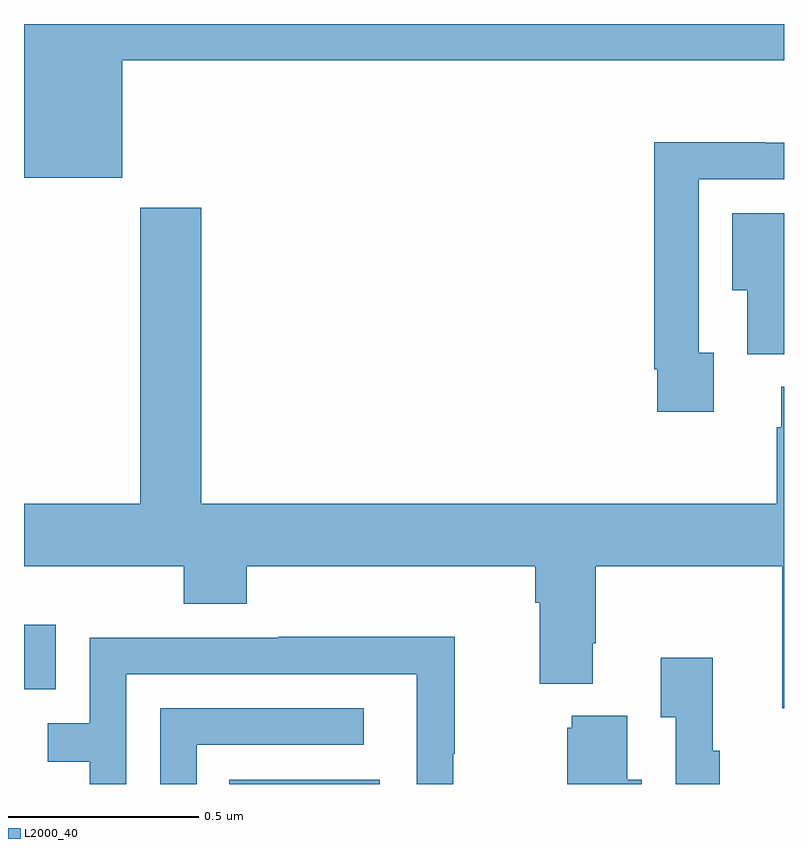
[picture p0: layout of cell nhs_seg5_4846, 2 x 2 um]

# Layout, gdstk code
import gdstk
lib = gdstk.Library(unit=1e-6, precision=1e-09)
def R(c, l, rs):  # rectangles x0, y0, x1, y1
    for r in rs: c.add(gdstk.rectangle(r[:2], r[2:], *l))
def P(c, l, *ps):  # polygons
    for p in ps: c.add(gdstk.Polygon(p, *l))
L2000_40 = (2000, 40)

nhs_seg5_4846 = lib.new_cell('nhs_seg5_4846')
R(nhs_seg5_4846, L2000_40, [(175.54,910.799,175.936,910.81), (175,911.049,175.083,911.218)])
P(nhs_seg5_4846, L2000_40, [(175.258,912.704),(177,912.704),(177,912.799),(175,912.799),(175,912.395),(175.258,912.395)],
  [(176.815,911.934),(176.775,911.934),(176.775,912.39),(177,912.39),(177,912.486),(176.951,912.486),(176.951,912.488),(176.659,912.488),(176.659,911.89),(176.667,911.89),(176.667,911.778),(176.815,911.778)],
  [(177,911.845),(176.993,911.845),(176.993,911.738),(176.981,911.738),(176.981,911.536),(175.466,911.536),(175.466,912.316),(175.306,912.316),(175.306,911.536),(175,911.536),(175,911.372),(175.421,911.372),(175.421,911.273),(175.586,911.273),(175.586,911.372),(176.345,911.372),(176.345,911.276),(176.357,911.276),(176.357,911.063),(176.497,911.063),(176.497,911.17),(176.505,911.17),(176.505,911.372),(176.996,911.372),(176.996,910.998),(177,910.998)],
  [(177,912.301),(176.864,912.301),(176.864,912.098),(176.903,912.098),(176.903,911.93),(177,911.93)],
  [(175.269,911.088),(176.033,911.088),(176.033,910.834),(176.034,910.834),(176.034,910.799),(176.13,910.799),(176.13,910.879),(176.133,910.879),(176.133,911.186),(175.669,911.186),(175.669,911.184),(175.173,911.184),(175.173,910.959),(175.063,910.959),(175.063,910.858),(175.173,910.858),(175.173,910.799),(175.269,910.799)],
  [(176.831,910.886),(176.813,910.886),(176.813,911.131),(176.675,911.131),(176.675,910.975),(176.715,910.975),(176.715,910.799),(176.831,910.799)],
  [(175.455,910.902),(175.894,910.902),(175.894,910.998),(175.359,910.998),(175.359,910.799),(175.455,910.799)],
  [(176.626,910.81),(176.587,910.81),(176.587,910.978),(176.441,910.978),(176.441,910.947),(176.429,910.947),(176.429,910.799),(176.626,910.799)])

lib.write_gds('nhs_seg5_4846.gds')
